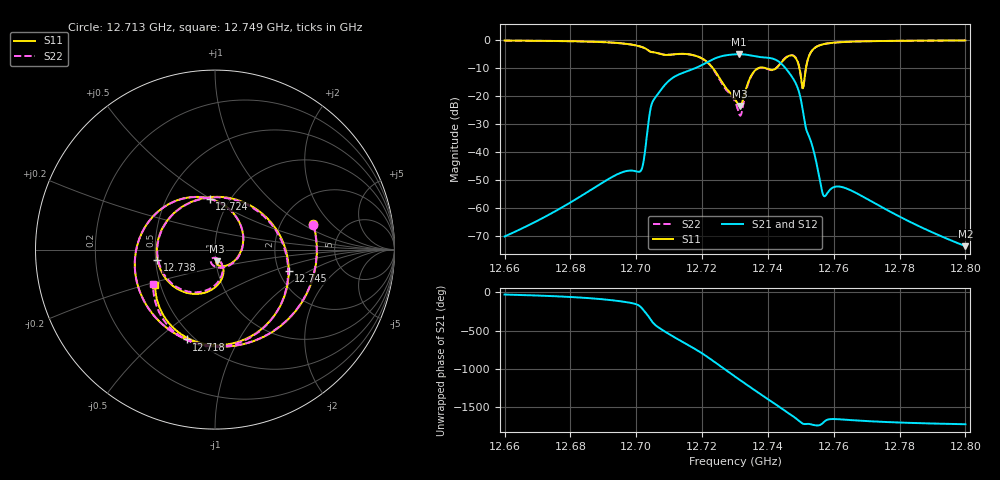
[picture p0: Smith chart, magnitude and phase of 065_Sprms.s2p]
! TOUCHSTONE file generated by CST MICROWAVE STUDIO
! Date and time: Wed Jul 31 13:58:44 2024
! Project name: WaveGuide_BPF-Ver4.1_U-shape_Ku_T3_C4_CWA_2.cst
! Parameters = {cavity_h=16; cavity_l0=10; cavity_l1=15.2333; cavity_l2=16.8522; cavity_l3=17.1096; cavity_l4=17.2632; cavity_l5=17.1168; cavity_l6=17.6288; cavity_r=2.5; cavity_screw_l=0.5; cavity_screw_r=1.5; cavity_w=8; iris_h00=0; iris_h01=8.8013; iris_h112=0; iris_h12=5.5944; iris_h211=3.6533; 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
! Header version: 2018
! Port assignment regex: !\s*Touchstone port\s*([0-9]+)\s*=\s*(CST MWS port|CST DS port)\s*([0-9]+|Zmin|Zmax)\s*\(\"(.*)\"\)(\s*mode\s*([0-9]+))?.*
! Touchstone port assignment:
! Touchstone port 1 = CST MWS port 1 ("")
! Touchstone port 2 = CST MWS port 2 ("")
# GHz S RI R 50
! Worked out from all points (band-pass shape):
!   5001 points, 12.66 GHz to 12.8 GHz, reference 50 ohm
!   highest |S21| = -5.05 dB at 12.731 GHz (marker M1); lowest = -73.5 dB at 12.8 GHz (marker M2)
!   |S21| within 3 dB of the highest: 12.72135 GHz to 12.7437 GHz (22.36 MHz wide, 0.176 % of centre)
!   lowest |S11| = -23.5 dB at 12.731 GHz (marker M3), VSWR 1.14, Z = 50.8 - j6.69 ohm
!   |S11| at or under -10 dB: 12.72328 GHz to 12.7371 GHz (13.82 MHz wide, 0.109 % of centre); 12.73929 GHz to 12.74256 GHz (3.267 MHz wide, 0.0256 % of centre); 12.74957 GHz to 12.75155 GHz (1.986 MHz wide, 0.0156 % of centre)
!   |S22| runs from -26.9 to -0.1 dB; largest |S21 - S12| = 1e-09
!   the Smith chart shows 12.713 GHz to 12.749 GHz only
!   S11 on the Smith chart (normalised r, x): 12.713 GHz: 3.03, +1.26; 12.718 GHz: 0.45, -0.63; 12.724 GHz: 0.81, +0.50; 12.738 GHz: 0.51, -0.06; 12.745 GHz: 2.26, -0.66; 12.749 GHz: 0.47, -0.22
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12.66  0.382 0.9004  0.00028 -0.000146  0.00028 -0.000146  0.3915 0.8962
12.68335  0.831 0.4516  0.000629 -0.00156  0.000629 -0.00156  0.8393 0.4347
12.70127  0.1961 -0.7406  -0.00457 0.00052  -0.00457 0.00052  0.1578 -0.7481
12.70668  -0.5746 -0.0675  -0.0118 -0.1107  -0.0118 -0.1107  -0.5825 -0.0415
12.70984  -0.054 0.5409  -0.1861 0.00792  -0.1861 0.00792  -0.0464 0.5464
12.71289  0.5481 0.1407  -0.0439 0.2386  -0.0439 0.2386  0.5487 0.1357
12.71799  -0.1587 -0.5008  0.2876 -0.1318  0.2876 -0.1318  -0.1713 -0.4953
12.72384  -0.0286 0.2837  -0.4574 0.1004  -0.4574 0.1004  -0.00387 0.275
12.72675  0.1531 0.0195  0.1217 0.5142  0.1217 0.5142  0.1421 -0.0194
12.73  0.0176 -0.0865  0.5149 -0.2098  0.5149 -0.2098  -0.0192 -0.0785
12.73126  0.00969 -0.0667  0.2771 -0.4852  0.2771 -0.4852  -0.0121 -0.0469
12.73146  0.0127 -0.0655  0.2254 -0.5113  0.2254 -0.5113  -0.00641 -0.0452
12.73482  -0.0198 -0.2241  -0.5182 -0.1136  -0.5182 -0.1136  -0.0273 -0.2172
12.73806  -0.3204 -0.0563  -0.0763 0.4884  -0.0763 0.4884  -0.3204 -0.0324
12.74126  -0.0355 0.2914  0.4665 0.0522  0.4665 0.0522  -0.00115 0.2911
12.74453  0.4108 -0.1188  -0.0129 -0.3563  -0.0129 -0.3563  0.406 -0.1581
12.74918  -0.3332 -0.1953  -0.0791 0.107  -0.0791 0.107  -0.3436 -0.1899
12.75092  0.1097 0.1276  0.0101 0.0414  0.0101 0.0414  0.1108 0.1188
12.75335  0.3525 -0.5369  0.00504 0.0129  0.00504 0.0129  0.3302 -0.5541
12.7571  -0.2129 -0.8214  -0.000459 0.00158  -0.000459 0.00158  -0.2402 -0.8164
12.77668  -0.9581 -0.1151  -0.000171 0.000889  -0.000171 0.000889  -0.9603 -0.1008
12.8  -0.9248 0.3331  6.19e-05 0.000203  6.19e-05 0.000203  -0.9217 0.3424
